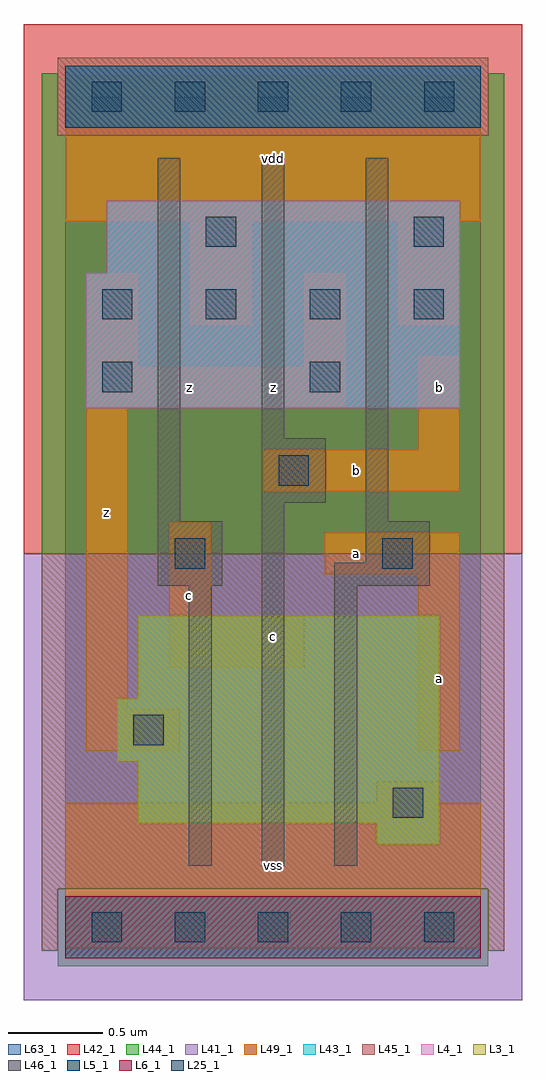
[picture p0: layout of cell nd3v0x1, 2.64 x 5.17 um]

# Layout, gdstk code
import gdstk
lib = gdstk.Library(unit=1e-6, precision=1e-09)
def R(c, l, rs):  # rectangles x0, y0, x1, y1
    for r in rs: c.add(gdstk.rectangle(r[:2], r[2:], *l))
def A(c, l, x, y, w, h, nx, ny, dx, dy):  # array of equal rectangles
    R(c, l, [(x+i*dx, y+j*dy, x+i*dx+w, y+j*dy+h) for i in range(nx) for j in range(ny)])
L3_1 = (3, 1)
L4_1 = (4, 1)
L5_1 = (5, 1)
L6_1 = (6, 1)
L25_1 = (25, 1)
L41_1 = (41, 1)
L42_1 = (42, 1)
L43_1 = (43, 1)
L44_1 = (44, 1)
L45_1 = (45, 1)
L46_1 = (46, 1)
L49_1 = (49, 1)
L63_1 = (63, 1)

nd3v0x1 = lib.new_cell('nd3v0x1')
R(nd3v0x1, L3_1, [(1.65,0.44,1.98,0.55), (0.385,0.55,1.98,0.88), (0.275,0.88,1.98,1.21), (0.385,1.21,1.98,1.65)])
R(nd3v0x1, L4_1, [(0.11,2.75,2.09,3.465), (0.22,3.465,2.09,3.85)])
R(nd3v0x1, L5_1, [(0,4.235,2.2,4.565)])
R(nd3v0x1, L6_1, [(0,-0.165,2.2,0.165)])
A(nd3v0x1, L25_1, 0.14, -0.08, 0.16, 0.16, 5, 2, 0.44, 4.4)
A(nd3v0x1, L25_1, 0.195, 3.22, 0.16, 0.16, 4, 1, 0.55, 0)
R(nd3v0x1, L25_1, [(1.735,0.58,1.895,0.74), (0.36,0.965,0.52,1.125), (0.58,1.9,0.74,2.06), (1.68,1.9,1.84,2.06), (1.13,2.34,1.29,2.5), (0.195,2.835,0.355,2.995), (1.295,2.835,1.455,2.995), (0.745,3.605,0.905,3.765), (1.845,3.605,2.005,3.765)])
R(nd3v0x1, L41_1, [(-0.22,-0.385,2.42,1.98)])
R(nd3v0x1, L42_1, [(-0.22,1.98,2.42,4.785)])
R(nd3v0x1, L43_1, [(0,-0.165,2.2,0.165), (1.65,0.44,1.98,0.55), (0.385,0.55,1.98,0.88), (0.275,0.88,1.98,1.21), (0.385,1.21,1.98,1.65), (0.11,2.75,2.09,3.465), (0.22,3.465,2.09,3.85), (0,4.235,2.2,4.565)])
R(nd3v0x1, L44_1, [(-0.04,-0.205,2.24,0.205), (-0.125,1.98,2.325,4.195), (-0.125,4.195,-0.04,4.525), (2.24,4.195,2.325,4.525)])
R(nd3v0x1, L45_1, [(-0.125,-0.125,-0.04,0.205), (2.24,-0.125,2.325,0.205), (-0.125,0.205,2.325,1.98), (-0.04,4.195,2.24,4.605)])
R(nd3v0x1, L46_1, [(0.655,0.325,0.775,1.81), (1.04,0.325,1.16,2.25), (1.425,0.325,1.545,1.81), (0.49,1.81,0.83,2.15), (1.425,1.81,1.93,1.93), (1.59,1.93,1.93,2.15), (0.49,2.15,0.61,4.075), (1.59,2.15,1.71,4.075), (1.04,2.25,1.38,2.59), (1.04,2.59,1.16,4.075)])
R(nd3v0x1, L49_1, [(0,-0.11,2.2,0.66), (1.65,0.66,1.98,0.77), (0.11,0.935,0.605,1.155), (1.87,0.935,2.09,1.87), (0.11,1.155,0.33,2.75), (0.55,1.375,1.265,1.65), (0.55,1.65,0.77,2.145), (1.375,1.87,2.09,2.09), (1.045,2.31,2.09,2.53), (1.87,2.53,2.09,3.025), (0.11,2.75,1.485,2.97), (0.11,2.97,0.385,3.465), (1.265,2.97,1.485,3.465), (0.66,3.19,0.99,3.74), (1.76,3.19,2.09,3.74), (0,3.74,2.2,4.51)])
R(nd3v0x1, L63_1, [(0,0,2.2,4.4)])
nd3v0x1.add(gdstk.Label('z', (0.22,2.2), layer=49, texttype=1))
nd3v0x1.add(gdstk.Label('c', (0.66,1.76), layer=49, texttype=1))
nd3v0x1.add(gdstk.Label('z', (0.66,2.86), layer=49, texttype=1))
nd3v0x1.add(gdstk.Label('vss', (1.1,0.33), layer=49, texttype=1))
nd3v0x1.add(gdstk.Label('c', (1.1,1.54), layer=49, texttype=1))
nd3v0x1.add(gdstk.Label('a', (1.54,1.98), layer=49, texttype=1))
nd3v0x1.add(gdstk.Label('b', (1.54,2.42), layer=49, texttype=1))
nd3v0x1.add(gdstk.Label('z', (1.1,2.86), layer=49, texttype=1))
nd3v0x1.add(gdstk.Label('vdd', (1.1,4.07), layer=49, texttype=1))
nd3v0x1.add(gdstk.Label('a', (1.98,1.32), layer=49, texttype=1))
nd3v0x1.add(gdstk.Label('b', (1.98,2.86), layer=49, texttype=1))

lib.write_gds('nd3v0x1.gds')
